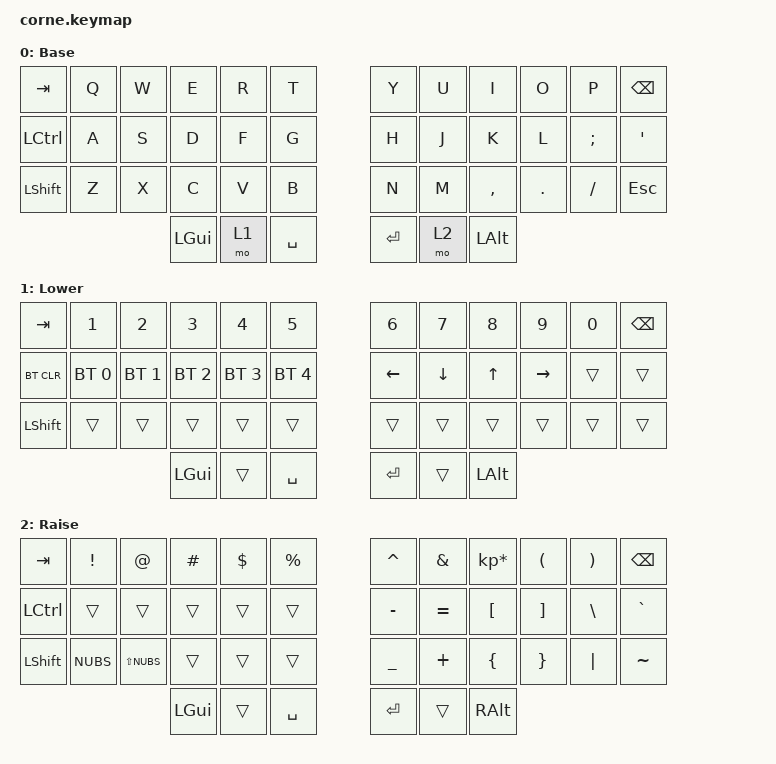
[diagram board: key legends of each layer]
/*
 * Copyright (c) 2020 The ZMK Contributors
 *
 * SPDX-License-Identifier: MIT
 */

#include <behaviors.dtsi>
#include <dt-bindings/zmk/keys.h>
#include <dt-bindings/zmk/bt.h>

/ {
        combos {
                compatible = "zmk,combos";
                combo_CTRL {
                        bindings = <&sk LCTRL>;
                        key-positions = <17 18>;
                        timeout-ms = <30>;
                        //layers = <-1>;
                };
                combo_lSHFT {
                        bindings = <&sk LSHFT>;
                        key-positions = <16 19>;
                        timeout-ms = <30>;
                        //layers = <-1>;
                };
                combo_ALT {
                        bindings = <&sk LALT>;
                        key-positions = <15 20>;
                        timeout-ms = <30>;
                        //layers = <-1>;
                };
                combo_CAPS {
                        bindings = <&kp CAPS>;
                        key-positions = <14 21>;
                        timeout-ms = <30>;
                        //layers = <-1>;
                };
        };
        keymap {
                compatible = "zmk,keymap";

                default_layer {
// -----------------------------------------------------------------------------------------
// | TAB  0| Q  1|  W  |  E  |  R  | T  5|   |6  Y |  U   |  I  |  O  |  P  | BKSP 11|
// |CTRL 12|  A  |  S  |  D  |  F  | G 17|   |18 H |  J   |  K  |  L  |  ;  |  '   23|
// |lSHFT24|  Z  |  X  |  C  |  V  | B 29|   |30 N |  M   |  ,  |  .  |  /  | ESC  35|
//                     | GUI | LWR | SPC |   | ENT | RSE  | ALT |
//                       36    37    38        39     40     42
                        display-name = "Base";
                        bindings = <
   &kp TAB   &kp Q &kp W &kp E &kp R &kp T   &kp Y &kp U  &kp I     &kp O   &kp P    &kp BSPC
   &kp LCTRL &kp A &kp S &kp D &kp F &kp G   &kp H &kp J  &kp K     &kp L   &kp SEMI &kp SQT
   &kp LSHFT &kp Z &kp X &kp C &kp V &kp B   &kp N &kp M  &kp COMMA &kp DOT &kp FSLH &kp ESC
                  &kp LGUI &mo 1 &kp SPACE   &kp RET &mo 2 &kp LALT
                        >;
                };
                lower_layer {
// -----------------------------------------------------------------------------------------
// |  TAB |  1  |  2  |  3  |  4  |  5  |   |  6  |  7  |  8  |  9  |  0  | BKSP |
// | BTCLR| BT1 | BT2 | BT3 | BT4 | BT5 |   | LFT | DWN |  UP | RGT |     |      |
// | SHFT |     |     |     |     |     |   |     |     |     |     |     |      |
//                    | GUI |     | SPC |   | ENT |     | ALT |
                        display-name = "Lower";
                        bindings = <
   &kp TAB    &kp N1       &kp N2       &kp N3       &kp N4       &kp N5         &kp N6   &kp N7   &kp N8 &kp N9    &kp N0 &kp BSPC
   &bt BT_CLR &bt BT_SEL 0 &bt BT_SEL 1 &bt BT_SEL 2 &bt BT_SEL 3 &bt BT_SEL 4   &kp LEFT &kp DOWN &kp UP &kp RIGHT &trans &trans
   &kp LSHFT  &trans       &trans       &trans       &trans       &trans         &trans   &trans   &trans &trans    &trans &trans
                          	        &kp LGUI     &trans       &kp SPACE      &kp RET  &trans   &kp LALT
                        >;
                };

                raise_layer {
// -----------------------------------------------------------------------------------------
// |  TAB |  !  |  @  |  #  |  $  |  %  |   |  ^  |  &  |  *  |  (  |  )  | BKSP |
// | CTRL |     |     |     |     |     |   |  -  |  =  |  [  |  ]  |  \  |  `   |
// | SHFT | NUBS|     |     |     |     |   |  _  |  +  |  {  |  }  | "|" |  ~   |
//                    | GUI |     | SPC |   | ENT |     | ALT |
                        display-name = "Raise";
                        bindings = <
   &kp  TAB  &kp EXCL &kp AT &kp HASH &kp DLLR &kp PRCNT   &kp CARET &kp AMPS  &kp KP_MULTIPLY &kp LPAR &kp RPAR &kp BSPC
   &kp LCTRL &trans   &trans &trans   &trans   &trans      &kp MINUS &kp EQUAL &kp LBKT        &kp RBKT &kp BSLH &kp GRAVE
   &kp LSHFT &kp NUBS   &kp LS(NUBS) &trans   &trans   &trans      &kp UNDER &kp PLUS  &kp LBRC        &kp RBRC &kp PIPE &kp TILDE
                    	     &kp LGUI &trans   &kp SPACE   &kp RET   &trans    &kp RALT
                        >;
                };
        };
};
